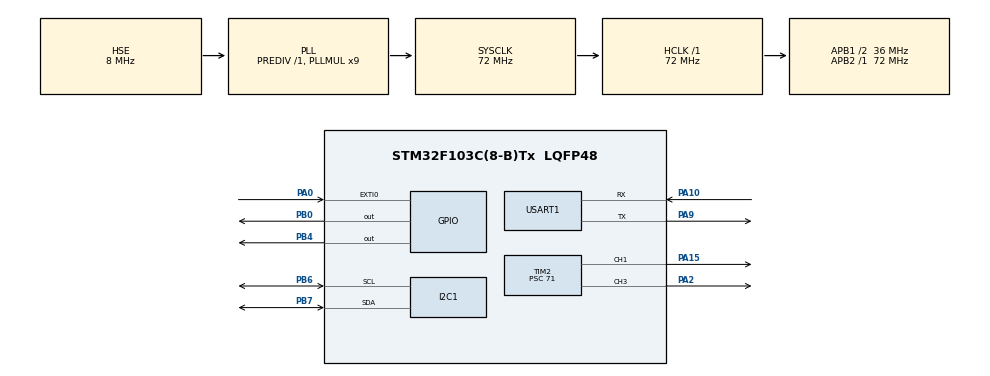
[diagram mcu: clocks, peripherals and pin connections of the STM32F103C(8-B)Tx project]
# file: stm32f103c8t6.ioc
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I2C1.I2C_Mode=I2C_Fast
Mcu.Family=STM32F1
Mcu.Name=STM32F103C(8-B)Tx
Mcu.Package=LQFP48
NVIC.EXTI0_IRQn=true\:0\:0\:false\:false\:true\:true\:true\:true
NVIC.PriorityGroup=NVIC_PRIORITYGROUP_4
NVIC.USART1_IRQn=true\:0\:0\:false\:false\:true\:true\:true\:true
PA0-WKUP.GPIO_PuPd=GPIO_PULLDOWN
PA0-WKUP.Signal=GPXTI0
PA10.Mode=Asynchronous
PA10.Signal=USART1_RX
PA13.Mode=Serial_Wire
PA13.Signal=SYS_JTMS-SWDIO
PA14.Mode=Serial_Wire
PA14.Signal=SYS_JTCK-SWCLK
PA15.Signal=S_TIM2_CH1_ETR
PA2.Signal=S_TIM2_CH3
PA9.Mode=Asynchronous
PA9.Signal=USART1_TX
PB0.Signal=GPIO_Output
PB4.Signal=GPIO_Output
PB6.Mode=I2C
PB6.Signal=I2C1_SCL
PB7.Mode=I2C
PB7.Signal=I2C1_SDA
PC14-OSC32_IN.Mode=LSE-External-Oscillator
PC14-OSC32_IN.Signal=RCC_OSC32_IN
PC15-OSC32_OUT.Mode=LSE-External-Oscillator
PC15-OSC32_OUT.Signal=RCC_OSC32_OUT
PD0-OSC_IN.Mode=HSE-External-Oscillator
PD0-OSC_IN.Signal=RCC_OSC_IN
PD1-OSC_OUT.Mode=HSE-External-Oscillator
PD1-OSC_OUT.Signal=RCC_OSC_OUT
ProjectManager.HeapSize=0x200
ProjectManager.StackSize=0x400
ProjectManager.TargetToolchain=MDK-ARM V5.32
RCC.AHBFreq_Value=72000000
RCC.APB1CLKDivider=RCC_HCLK_DIV2
RCC.APB1Freq_Value=36000000
RCC.APB1TimFreq_Value=72000000
RCC.APB2Freq_Value=72000000
RCC.APB2TimFreq_Value=72000000
RCC.HCLKFreq_Value=72000000
RCC.PLLMUL=RCC_PLL_MUL9
RCC.PLLSourceVirtual=RCC_PLLSOURCE_HSE
RCC.RTCClockSelection=RCC_RTCCLKSOURCE_LSE
RCC.SYSCLKFreq_VALUE=72000000
RCC.SYSCLKSource=RCC_SYSCLKSOURCE_PLLCLK
RCC.USBFreq_Value=72000000
SH.S_TIM2_CH1_ETR.0=TIM2_CH1,PWM Generation1 CH1
SH.S_TIM2_CH3.0=TIM2_CH3,PWM Generation3 CH3
TIM2.AutoReloadPreload=TIM_AUTORELOAD_PRELOAD_ENABLE
TIM2.Channel-PWM\ Generation1\ CH1=TIM_CHANNEL_1
TIM2.Channel-PWM\ Generation3\ CH3=TIM_CHANNEL_3
TIM2.Period=19999
TIM2.Prescaler=71
USART1.VirtualMode=VM_ASYNC
VP_TIM2_VS_ClockSourceINT.Mode=Internal
board=custom

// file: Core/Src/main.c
/* USER CODE BEGIN Header */
/**
  ******************************************************************************
  * @file           : main.c
  * @brief          : Main program body
  ******************************************************************************
  * @attention
  *
  * Copyright (c) 2023 STMicroelectronics.
  * All rights reserved.
  *
  * This software is licensed under terms that can be found in the LICENSE file
  * in the root directory of this software component.
  * If no LICENSE file comes with this software, it is provided AS-IS.
  *
  ******************************************************************************
  */
/* USER CODE END Header */
#include "main.h"
#include "i2c.h"
#include "tim.h"
#include "usart.h"
#include "gpio.h"

/* USER CODE BEGIN PTD */
//PID输出限幅值
#define  limit_pid_max 2000
#define  limit_pid_min 700

/* USER CODE END PTD */

void SystemClock_Config(void);

/* USER CODE BEGIN 0 */

#include "mpu6050.h"
#include <stdio.h>

void HAL_GPIO_EXTI_Callback(uint16_t GPIO_Pin);
int DMP_test(void);
//int DMP_gett(void);
int pd_control(float);
unsigned char mpu_dmp_get_data(float *pitch,float *roll,float *yaw);
unsigned char tx_data[20];
unsigned char sumcheck = 0;
unsigned char addcheck = 0;
unsigned char i = 0;
int pwmval;
/* USER CODE END 0 */

int main(void)
{
  /* USER CODE BEGIN 1 */
  pwmval = 1200;  //500是0度，每加100转9度；最大为180度，对应2500
	uint8_t tx = 49;
		int a;
	float pitch,roll,yaw;         //欧拉角
  /* USER CODE END 1 */

  /* MCU Configuration--------------------------------------------------------*/

  /* Reset of all peripherals, Initializes the Flash interface and the Systick. */
  HAL_Init();

  /* Configure the system clock */
  SystemClock_Config();

  /* Initialize all configured peripherals */
  MX_GPIO_Init();
  MX_USART1_UART_Init();
  MX_I2C1_Init();
  MX_TIM2_Init();
  /* USER CODE BEGIN 2 */
	HAL_UART_Transmit(&huart1,"hello\n",6,HAL_MAX_DELAY/4);
	HAL_GPIO_WritePin(GPIOB, GPIO_PIN_0, 0);
  HAL_TIM_PWM_Start(&htim2,TIM_CHANNEL_1);
	//HAL_TIM_Base_Start_IT(&htim3);
	HAL_TIM_PWM_Start(&htim2,TIM_CHANNEL_3);
	__HAL_TIM_SetCompare(&htim2, TIM_CHANNEL_1, 1200);//duty is 5%
	__HAL_TIM_SetCompare(&htim2, TIM_CHANNEL_3, 12000);//duty is 60%
	printf("回正");
  OLED_Init();//OLED初始化
	OLED_Clear();//清屏
	//参数分别是列号、行号和输出的字
    OLED_ShowCHinese(18,0,0);//硬
		OLED_ShowCHinese(36,0,1);//件
		OLED_ShowCHinese(54,0,2);//课
		OLED_ShowCHinese(72,0,3);//设
	OLED_ShowString(6,3,"speed is: m/s");//显示字符串
		OLED_ShowString(0,6,"yingjian");
		OLED_ShowString(65,6,"keshe");
		OLED_ShowNum(78,3,1,1,1);//参数是列、行、数值、长度、大小

		//printf("Uart init OK!\r\n");
		DMP_test();

  /* USER CODE END 2 */

  /* Infinite loop */
  while (1)
  {

    /* USER CODE BEGIN 3 */
		//uint8_t rx = 0; //
		//HAL_UART_Receive(&huart1, &rx, 1, HAL_MAX_DELAY);

//	  if (rx == '1')
//		{HAL_GPIO_TogglePin(GPIOB, GPIO_PIN_0);
//		printf("engien on");}

				if(mpu_dmp_get_data(&pitch,&roll,&yaw)==0)
				{
				//printf("%f\n",roll);
				static int pid_out = 0;
				pid_out = pd_control(roll);//执行pd控制
        //PID输出幅度限幅
				//printf("%d\n",pid_out);//printf("限幅%d",pid_out);
        if(pid_out > limit_pid_max){pid_out = limit_pid_max;}
        if(pid_out < limit_pid_min){pid_out = limit_pid_min;}
        __HAL_TIM_SetCompare(&htim2, TIM_CHANNEL_1, pid_out);//更新舵机角度
					//printf("changing");
				}
		 HAL_Delay(10);
			//printf("while is working");
  }//end of while
  /* USER CODE END 3 */
}

void SystemClock_Config(void)
{
  RCC_OscInitTypeDef RCC_OscInitStruct = {0};
  RCC_ClkInitTypeDef RCC_ClkInitStruct = {0};

  /** Initializes the RCC Oscillators according to the specified parameters
  * in the RCC_OscInitTypeDef structure.
  */
  RCC_OscInitStruct.OscillatorType = RCC_OSCILLATORTYPE_HSE;
  RCC_OscInitStruct.HSEState = RCC_HSE_ON;
  RCC_OscInitStruct.HSEPredivValue = RCC_HSE_PREDIV_DIV1;
  RCC_OscInitStruct.HSIState = RCC_HSI_ON;
  RCC_OscInitStruct.PLL.PLLState = RCC_PLL_ON;
  RCC_OscInitStruct.PLL.PLLSource = RCC_PLLSOURCE_HSE;
  RCC_OscInitStruct.PLL.PLLMUL = RCC_PLL_MUL9;
  if (HAL_RCC_OscConfig(&RCC_OscInitStruct) != HAL_OK)
  {
    Error_Handler();
  }

  /** Initializes the CPU, AHB and APB buses clocks
  */
  RCC_ClkInitStruct.ClockType = RCC_CLOCKTYPE_HCLK|RCC_CLOCKTYPE_SYSCLK
                              |RCC_CLOCKTYPE_PCLK1|RCC_CLOCKTYPE_PCLK2;
  RCC_ClkInitStruct.SYSCLKSource = RCC_SYSCLKSOURCE_PLLCLK;
  RCC_ClkInitStruct.AHBCLKDivider = RCC_SYSCLK_DIV1;
  RCC_ClkInitStruct.APB1CLKDivider = RCC_HCLK_DIV2;
  RCC_ClkInitStruct.APB2CLKDivider = RCC_HCLK_DIV1;

  if (HAL_RCC_ClockConfig(&RCC_ClkInitStruct, FLASH_LATENCY_2) != HAL_OK)
  {
    Error_Handler();
  }
}

/* USER CODE BEGIN 4 */
void HAL_GPIO_EXTI_Callback(uint16_t GPIO_Pin)
{
	HAL_GPIO_TogglePin(GPIOB, GPIO_PIN_0);
	printf("engien on");
	//HAL_GPIO_TogglePin(GPIOB,GPIO_PIN_4);
}

void HAL_TIM_PeriodElapsedCallback(TIM_HandleTypeDef *htim)
{
//	static uint16_t TIM3_Cnt1 = 0;
    //
}
/* USER CODE END 4 */

void Error_Handler(void)
{
  __disable_irq();
  while (1)
  {
  }
}
